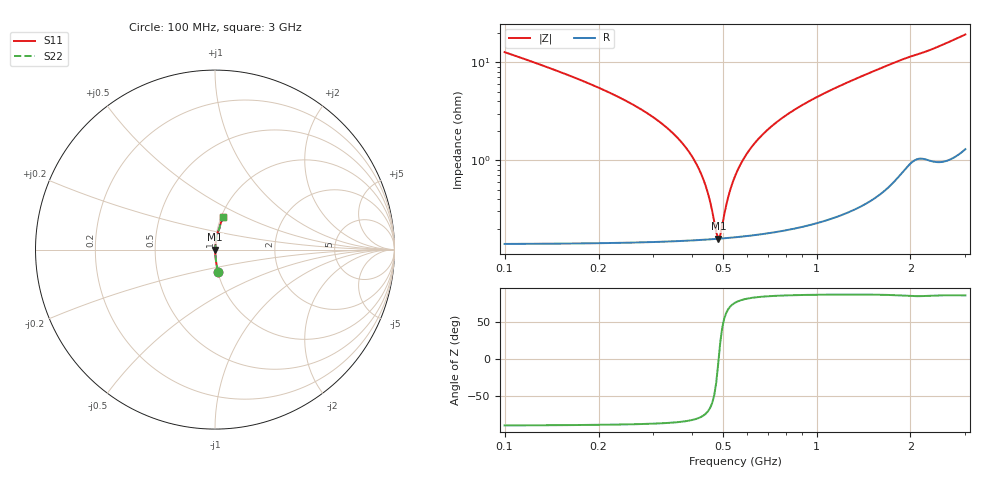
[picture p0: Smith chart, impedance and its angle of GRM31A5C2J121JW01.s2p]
!Murata Part Number: GRM31A5C2J121JW01
!These Parameters are Measured in Series Mode Connection
!Data Generated on Mar 30, 2021
!  o--ll--o
!Port1  Port2
!  o------o
!Operation Temp=25[degC], DC Bias Voltage=0[V]
!Freq. Start=100[MHz] Stop=3[GHz] 401[Steps]
# Hz S RI R 50
!Freq.(Hz) S11(Real) S11(Imag) S21(Real) S21(Imag) S12(Real) S12(Imag) S22(Real) S22(Imag)
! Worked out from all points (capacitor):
!   401 points, 100 MHz to 3 GHz, reference 50 ohm
!   read as one part in series: C = 120 pF near 114.5 MHz
!   lowest |Z| = 158 mohm at 484.2 MHz (marker M1)
!   series resonance near 485.4 MHz, so ESL is about 900 pH
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1e8  0.0172 -0.1247  0.9828 0.1247  0.9828 0.1247  0.0172 -0.1247
1.87e8  0.00504 -0.06  0.995 0.06  0.995 0.06  0.00504 -0.06
3.175e8  0.00204 -0.0239  0.998 0.0239  0.998 0.0239  0.00204 -0.0239
3.755e8  0.0017 -0.0142  0.9983 0.0142  0.9983 0.0142  0.0017 -0.0142
4.2625e8  0.00158 -0.00712  0.9984 0.00712  0.9984 0.00712  0.00158 -0.00712
4.48e8  0.00157 -0.00439  0.9984 0.00439  0.9984 0.00439  0.00157 -0.00439
4.6975e8  0.00157 -0.00179  0.9984 0.00179  0.9984 0.00179  0.00157 -0.00179
4.77e8  0.00157 -0.00095  0.9984 0.00095  0.9984 0.00095  0.00157 -0.00095
4.8425e8  0.00158 -0.000125  0.9984 0.000125  0.9984 0.000125  0.00158 -0.000125
4.915e8  0.00158 0.000689  0.9984 -0.000689  0.9984 -0.000689  0.00158 0.000689
4.9875e8  0.00159 0.00149  0.9984 -0.00149  0.9984 -0.00149  0.00159 0.00149
5.205e8  0.00162 0.00383  0.9984 -0.00383  0.9984 -0.00383  0.00162 0.00383
5.4225e8  0.00166 0.00609  0.9983 -0.00609  0.9983 -0.00609  0.00166 0.00609
5.8575e8  0.00177 0.0104  0.9982 -0.0104  0.9982 -0.0104  0.00177 0.0104
6.5825e8  0.00203 0.017  0.998 -0.017  0.998 -0.017  0.00203 0.017
7.5975e8  0.00252 0.0255  0.9975 -0.0255  0.9975 -0.0255  0.00252 0.0255
8.975e8  0.00339 0.0362  0.9966 -0.0362  0.9966 -0.0362  0.00339 0.0362
1.0715e9  0.00481 0.0488  0.9952 -0.0488  0.9952 -0.0488  0.00481 0.0488
1.55e9  0.0109 0.0817  0.9891 -0.0817  0.9891 -0.0817  0.0109 0.0817
2.03575e9  0.0226 0.1125  0.9774 -0.1125  0.9774 -0.1125  0.0226 0.1125
2.5215e9  0.0308 0.1437  0.9692 -0.1437  0.9692 -0.1437  0.0308 0.1437
3e9  0.047 0.1806  0.953 -0.1806  0.953 -0.1806  0.047 0.1806
